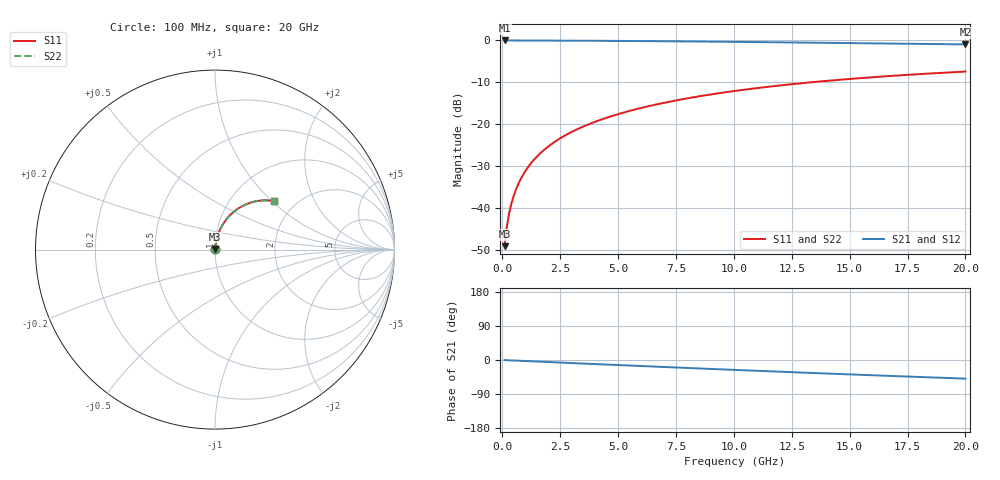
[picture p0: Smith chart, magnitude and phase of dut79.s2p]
! Touchstone file exported from HFSS 2026.1.0
!  File:  C:/ffzhzh/LocalFiles/Ansys_Project_Files/temp_train_BSMRDL_79_1782883025_46784.aedt
!  Generated:  01:18:32 PM Jul  1, 2026
!  Design:  BSMRDL
!  Project:  temp_train_BSMRDL_79_1782883025_46784
! Variables:
!  h_bsmrdl = 5.85um
!  h_ox = 20um
!  h_rdl = 5um
!  h_sub = 80um
!  h_tmrdl = 5um
!  h_tsv = 80um
!  h_via = 3um
!  l_bsmrdl = 744um
!  l_sub = 1144um
!  l_tmrdl = 200um
!  m_sub = 200um
!  pitch = 59.67um
!  r_tsv = 6um
!  s_tmrdl = 10um
!  w_bsmrdl = 26.18um
!  w_sub = 500um
!  w_tmrdl = 12um
!  x_tsv_center1 = 206um
!  x_tsv_center2 = 976.18um
!  x_tsv_center3 = 1188.18um
!  x_tsv_center4 = 1958.36um
!  x_tsv_center5 = 2170.36um
!  x_tsv_center6 = 2940.54um
# GHz S MA R 50.000000
! Terminal data exported
! Port[1] = BSM_RDL1_1_T1
! Port[2] = BSM_RDL1_1_T2
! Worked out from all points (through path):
!   200 points, 100 MHz to 20 GHz, reference 50 ohm
!   highest |S21| = -0.02 dB at 100 MHz (marker M1); lowest = -1.0 dB at 20 GHz (marker M2)
!   group delay of S21, straight-line fit = 6.83 ps
!   lowest |S11| = -49.1 dB at 100 MHz (marker M3), VSWR 1.01, Z = 50.2 + j0.296 ohm
!   |S11| at or under -10 dB: start of sweep to 13.32 GHz
!   |S22| runs from -49.1 to -7.4 dB; largest |S21 - S12| = 1.5e-14
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0.1  0.003522 56.8  0.9981 -0.3  0.9981 -0.3  0.003522 56.8
! Gamma 0 0 0 0
! Port Impedance 50 0 50 0
0.2  0.006153 69.8  0.9979 -0.6  0.9979 -0.6  0.006153 69.8
0.3  0.00883 74.8  0.9978 -0.8  0.9978 -0.8  0.00883 74.8
0.4  0.01151 77.4  0.9977 -1.1  0.9977 -1.1  0.01151 77.4
0.5  0.0142 79.1  0.9976 -1.4  0.9976 -1.4  0.0142 79.1
0.7  0.01961 80.8  0.9974 -1.9  0.9974 -1.9  0.01961 80.8
0.8  0.02232 81.3  0.9973 -2.2  0.9973 -2.2  0.02232 81.3
1  0.02775 81.8  0.997 -2.7  0.997 -2.7  0.02775 81.8
1.2  0.03317 81.9  0.9967 -3.3  0.9967 -3.3  0.03317 81.9
1.4  0.03858 81.8  0.9964 -3.8  0.9964 -3.8  0.03858 81.9
1.7  0.04667 81.5  0.9958 -4.6  0.9958 -4.6  0.04667 81.5
2  0.0547 81.0  0.9952 -5.4  0.9952 -5.4  0.0547 81.0
2.7  0.07323 79.6  0.9934 -7.3  0.9934 -7.3  0.07323 79.6
3.5  0.09403 77.7  0.9909 -9.4  0.9909 -9.4  0.09403 77.7
4.2  0.1119 76.0  0.9885 -11.3  0.9885 -11.3  0.1119 76.1
5  0.132 74.1  0.9855 -13.4  0.9855 -13.4  0.132 74.1
6.8  0.1758 69.8  0.9777 -18.0  0.9777 -18.0  0.1758 69.8
8.3  0.2109 66.2  0.9701 -21.8  0.9701 -21.8  0.2109 66.2
10.1  0.2508 61.9  0.96 -26.3  0.96 -26.3  0.2508 61.9
13.4  0.3177 54.1  0.9394 -34.3  0.9394 -34.3  0.3177 54.2
16.7  0.3757 46.7  0.9174 -41.9  0.9174 -41.9  0.3757 46.7
20  0.4246 39.6  0.8957 -49.2  0.8957 -49.2  0.4246 39.6
